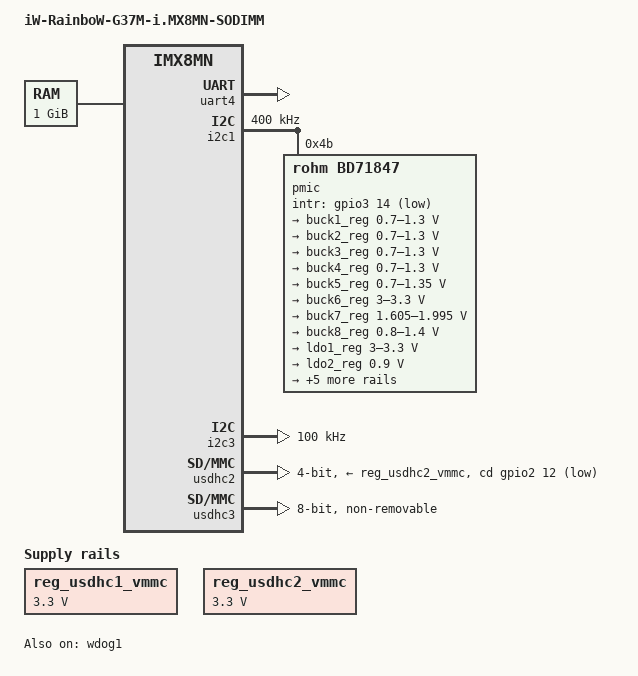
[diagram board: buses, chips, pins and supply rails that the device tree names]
/*
 * Copyright (C) 2020 iWave System Technologies Pvt Ltd.
 *
 * This program is free software; you can redistribute it and/or
 * modify it under the terms of the GNU General Public License
 * as published by the Free Software Foundation; either version 2
 * of the License, or (at your option) any later version.
 *
 * This program is distributed in the hope that it will be useful,
 * but WITHOUT ANY WARRANTY; without even the implied warranty of
 * MERCHANTABILITY or FITNESS FOR A PARTICULAR PURPOSE.  See the
 * GNU General Public License for more details.
 */

/dts-v1/;

#include "fsl-imx8mn.dtsi"

/ {
	model = "iW-RainboW-G37M-i.MX8MN-SODIMM";
	compatible = "fsl,imx8mn-iwg37m", "fsl,imx8mn";

	aliases {
                serial3 = &uart4;
                mmc0 = &usdhc3;
                mmc1 = &usdhc2;
                mmc2 = &usdhc1;
        };

	chosen {
		bootargs = "console=ttymxc3,115200 earlycon=ec_imx6q,0x30a60000,115200";
		stdout-path = &uart4;
	};

	memory@40000000 { /* RAM: 1GB Memory support */
        	device_type = "memory";
        	reg = <0x0 0x40000000 0 0x40000000>;
	};

	reserved-memory { /* RAM: 1GB Memory support */
        	#address-cells = <2>;
        	#size-cells = <2>;
        	ranges;

		/* global autoconfigured region for contiguous allocations */
        	linux,cma {
                	compatible = "shared-dma-pool";
                	reusable;
                	size = <0 0x14000000>;
                	alloc-ranges = <0 0x40000000 0 0x30000000>;
                	linux,cma-default;
        	};
	};

	rpmsg_reserved: rpmsg@0xb8000000 {
		no-map;
		reg = <0 0x78000000 0 0x400000>;
	};

	uart4: serial@30a60000 {
		compatible = "fsl,imx8mm-uart",
			"fsl,imx6q-uart", "fsl,imx21-uart";
		reg = <0x0 0x30a60000 0x0 0x10000>;
		interrupts = <GIC_SPI 29 IRQ_TYPE_LEVEL_HIGH>;
		interrupt-parent = <&gpc>;
		clocks = <&clk IMX8MN_CLK_UART4_ROOT>,
			<&clk IMX8MN_CLK_UART4_ROOT>;
		clock-names = "ipg", "per";
		pinctrl-names = "default";
		pinctrl-0 = <&pinctrl_uart4>;
		status = "okay";
	};

	reg_usdhc1_vmmc: regulator-usdhc1 { /* USDHC1: SOM Micro SD: 3.3V Fixed Regulator */
		compatible = "regulator-fixed";
		regulator-name = "VMMC_SD1_3V3";
		regulator-min-microvolt = <3300000>;
		regulator-max-microvolt = <3300000>;
	};

	reg_usdhc2_vmmc: regulator-usdhc2 { /* USDHC2: Carrier Micro SD: 3.3V Fixed Regulator */
		compatible = "regulator-fixed";
		regulator-name = "VMMC_SD2_3V3";
		regulator-min-microvolt = <3300000>;
		regulator-max-microvolt = <3300000>;
		enable-active-high;
		startup-delay-us = <100>;
		off-on-delay-us = <12000>;
	};
};

&iomuxc {
	pinctrl-names = "default";

	imx8mn-iwg37m {

		pinctrl_flexspi0: flexspi0grp { /* QSPI: IOMUX Pin Configuration */
			fsl,pins = <
				MX8MN_IOMUXC_NAND_ALE__QSPI_A_SCLK 		0x1c4
				MX8MN_IOMUXC_NAND_CE0_B__QSPI_A_SS0_B 		0x84
				MX8MN_IOMUXC_NAND_DQS__QSPI_A_DQS 		0x40000084
				MX8MN_IOMUXC_NAND_DATA00__QSPI_A_DATA0 		0x84
				MX8MN_IOMUXC_NAND_DATA01__QSPI_A_DATA1 		0x84
				MX8MN_IOMUXC_NAND_DATA02__QSPI_A_DATA2 		0x84
				MX8MN_IOMUXC_NAND_DATA03__QSPI_A_DATA3 		0x84
			>;
		};

		pinctrl_i2c1: i2c1grp { /* I2C1: PMIC I2C IOMUX Pin Configuration */
			fsl,pins = <
				MX8MN_IOMUXC_I2C1_SCL__I2C1_SCL			0x400001c3
				MX8MN_IOMUXC_I2C1_SDA__I2C1_SDA			0x400001c3
			>;
		};

		pinctrl_i2c3: i2c3grp { /* I2C3: PMIC I2C IOMUX Pin Configuration */
			fsl,pins = <
				MX8MN_IOMUXC_I2C3_SCL__I2C3_SCL			0x400001c3
				MX8MN_IOMUXC_I2C3_SDA__I2C3_SDA			0x400001c3
			>;
		};

		pinctrl_pmic: pmicirq { /* PMIC: PMIC IOMUX Pin Configuration */
			fsl,pins = <
				MX8MN_IOMUXC_NAND_DQS__GPIO3_IO14		0x41
			>;
		};

		pinctrl_uart4: uart3grp { /* UART4: Debug UART IOMUX Pin Configuration */
			fsl,pins = <
				MX8MN_IOMUXC_UART4_RXD__UART4_DCE_RX    	0x49
				MX8MN_IOMUXC_UART4_TXD__UART4_DCE_TX		0x49
			>;
		};

		pinctrl_usdhc1_gpio: usdhc1grpgpio {
			fsl,pins = <    
				MX8MN_IOMUXC_SD1_STROBE__GPIO2_IO11       	0x41
			>;
		};

		pinctrl_usdhc1: usdhc1grp { /* USDHC1: SOM Micro SD/WiFi: IOMUX Pin Configuration */
			fsl,pins = <
				MX8MN_IOMUXC_SD1_CLK__USDHC1_CLK		0x190
				MX8MN_IOMUXC_SD1_CMD__USDHC1_CMD		0x1d0
				MX8MN_IOMUXC_SD1_DATA0__USDHC1_DATA0    	0x1d0
				MX8MN_IOMUXC_SD1_DATA1__USDHC1_DATA1		0x1d0
				MX8MN_IOMUXC_SD1_DATA2__USDHC1_DATA2    	0x1d0
				MX8MN_IOMUXC_SD1_DATA3__USDHC1_DATA3		0x1d0
				MX8MN_IOMUXC_GPIO1_IO03__GPIO1_IO3		0x16
			>;
		};

		pinctrl_usdhc1_100mhz: usdhc1grp100mhz {
			fsl,pins = <
				MX8MN_IOMUXC_SD1_CLK__USDHC1_CLK        	0x194
				MX8MN_IOMUXC_SD1_CMD__USDHC1_CMD        	0x1d4
				MX8MN_IOMUXC_SD1_DATA0__USDHC1_DATA0    	0x1d4
				MX8MN_IOMUXC_SD1_DATA1__USDHC1_DATA1    	0x1d4
				MX8MN_IOMUXC_SD1_DATA2__USDHC1_DATA2    	0x1d4
				MX8MN_IOMUXC_SD1_DATA3__USDHC1_DATA3    	0x1d4
				MX8MN_IOMUXC_GPIO1_IO03__GPIO1_IO3      	0x16
			>;
		};

		pinctrl_usdhc1_200mhz: usdhc1grp200mhz {
			fsl,pins = <
				MX8MN_IOMUXC_SD1_CLK__USDHC1_CLK        	0x196
				MX8MN_IOMUXC_SD1_CMD__USDHC1_CMD        	0x1d6
				MX8MN_IOMUXC_SD1_DATA0__USDHC1_DATA0    	0x1d6
				MX8MN_IOMUXC_SD1_DATA1__USDHC1_DATA1    	0x1d6
				MX8MN_IOMUXC_SD1_DATA2__USDHC1_DATA2    	0x1d6
				MX8MN_IOMUXC_SD1_DATA3__USDHC1_DATA3    	0x1d6
				MX8MN_IOMUXC_GPIO1_IO03__GPIO1_IO3      	0x16
			>;
		};

		pinctrl_usdhc2_gpio: usdhc2grpgpio {
			fsl,pins = <
				MX8MN_IOMUXC_SD2_CD_B__GPIO2_IO12		0x41
			>;
		};

		pinctrl_usdhc2: usdhc2grp { /* USDHC2: Carrier Micro SD: IOMUX Pin Configuration */
			fsl,pins = <
			MX8MN_IOMUXC_SD2_CLK__USDHC2_CLK			0x190
				MX8MN_IOMUXC_SD2_CMD__USDHC2_CMD		0x1d0
				MX8MN_IOMUXC_SD2_DATA0__USDHC2_DATA0		0x1d0
				MX8MN_IOMUXC_SD2_DATA1__USDHC2_DATA1		0x1d0
				MX8MN_IOMUXC_SD2_DATA2__USDHC2_DATA2		0x1d0
				MX8MN_IOMUXC_SD2_DATA3__USDHC2_DATA3		0x1d0
				MX8MN_IOMUXC_GPIO1_IO04__USDHC2_VSELECT		0x1d0
			>;
		};

		pinctrl_usdhc2_100mhz: usdhc2grp100mhz {
			fsl,pins = <
				MX8MN_IOMUXC_SD2_CLK__USDHC2_CLK		0x194
				MX8MN_IOMUXC_SD2_CMD__USDHC2_CMD		0x1d4
				MX8MN_IOMUXC_SD2_DATA0__USDHC2_DATA0		0x1d4
				MX8MN_IOMUXC_SD2_DATA1__USDHC2_DATA1		0x1d4
				MX8MN_IOMUXC_SD2_DATA2__USDHC2_DATA2		0x1d4
				MX8MN_IOMUXC_SD2_DATA3__USDHC2_DATA3		0x1d4
				MX8MN_IOMUXC_GPIO1_IO04__USDHC2_VSELECT		0x1d0
			>;
		};

		pinctrl_usdhc2_200mhz: usdhc2grp200mhz {
			fsl,pins = <
				MX8MN_IOMUXC_SD2_CLK__USDHC2_CLK		0x196
				MX8MN_IOMUXC_SD2_CMD__USDHC2_CMD		0x1d6
				MX8MN_IOMUXC_SD2_DATA0__USDHC2_DATA0		0x1d6
				MX8MN_IOMUXC_SD2_DATA1__USDHC2_DATA1		0x1d6
				MX8MN_IOMUXC_SD2_DATA2__USDHC2_DATA2		0x1d6
				MX8MN_IOMUXC_SD2_DATA3__USDHC2_DATA3		0x1d6
				MX8MN_IOMUXC_GPIO1_IO04__USDHC2_VSELECT		0x1d0
			>;
		};

		pinctrl_usdhc3: usdhc3grp { /* USDHC3: EMMC: IOMUX Pin Configuration */
			fsl,pins = <
				MX8MN_IOMUXC_NAND_WE_B__USDHC3_CLK		0x40000190
				MX8MN_IOMUXC_NAND_WP_B__USDHC3_CMD		0x1d0
				MX8MN_IOMUXC_NAND_DATA04__USDHC3_DATA0		0x1d0
				MX8MN_IOMUXC_NAND_DATA05__USDHC3_DATA1		0x1d0
				MX8MN_IOMUXC_NAND_DATA06__USDHC3_DATA2		0x1d0
				MX8MN_IOMUXC_NAND_DATA07__USDHC3_DATA3		0x1d0
				MX8MN_IOMUXC_NAND_RE_B__USDHC3_DATA4		0x1d0
				MX8MN_IOMUXC_NAND_CE2_B__USDHC3_DATA5		0x1d0
				MX8MN_IOMUXC_NAND_CE3_B__USDHC3_DATA6		0x1d0
				MX8MN_IOMUXC_NAND_CLE__USDHC3_DATA7		0x1d0
				MX8MN_IOMUXC_NAND_READY_B__USDHC3_RESET_B	0x1d0
				MX8MN_IOMUXC_NAND_CE1_B__USDHC3_STROBE 		0x190
			>;
		};

		pinctrl_usdhc3_100mhz: usdhc3grp100mhz {
			fsl,pins = <
				MX8MN_IOMUXC_NAND_WE_B__USDHC3_CLK		0x40000194
				MX8MN_IOMUXC_NAND_WP_B__USDHC3_CMD		0x1d4
				MX8MN_IOMUXC_NAND_DATA04__USDHC3_DATA0		0x1d4
				MX8MN_IOMUXC_NAND_DATA05__USDHC3_DATA1		0x1d4
				MX8MN_IOMUXC_NAND_DATA06__USDHC3_DATA2		0x1d4
				MX8MN_IOMUXC_NAND_DATA07__USDHC3_DATA3		0x1d4
				MX8MN_IOMUXC_NAND_RE_B__USDHC3_DATA4		0x1d4
				MX8MN_IOMUXC_NAND_CE2_B__USDHC3_DATA5		0x1d4
				MX8MN_IOMUXC_NAND_CE3_B__USDHC3_DATA6		0x1d4
				MX8MN_IOMUXC_NAND_CLE__USDHC3_DATA7		0x1d4
				MX8MN_IOMUXC_NAND_READY_B__USDHC3_RESET_B       0x1d4
				MX8MN_IOMUXC_NAND_CE1_B__USDHC3_STROBE 		0x194
			>;
		};

		pinctrl_usdhc3_200mhz: usdhc3grp200mhz {
			fsl,pins = <
				MX8MN_IOMUXC_NAND_WE_B__USDHC3_CLK		0x40000196
				MX8MN_IOMUXC_NAND_WP_B__USDHC3_CMD		0x1d6
				MX8MN_IOMUXC_NAND_DATA04__USDHC3_DATA0		0x1d6
				MX8MN_IOMUXC_NAND_DATA05__USDHC3_DATA1		0x1d6
				MX8MN_IOMUXC_NAND_DATA06__USDHC3_DATA2		0x1d6
				MX8MN_IOMUXC_NAND_DATA07__USDHC3_DATA3		0x1d6
				MX8MN_IOMUXC_NAND_RE_B__USDHC3_DATA4		0x1d6
				MX8MN_IOMUXC_NAND_CE2_B__USDHC3_DATA5		0x1d6
				MX8MN_IOMUXC_NAND_CE3_B__USDHC3_DATA6		0x1d6
				MX8MN_IOMUXC_NAND_CLE__USDHC3_DATA7		0x1d6
				MX8MN_IOMUXC_NAND_READY_B__USDHC3_RESET_B       0x1d6
				MX8MN_IOMUXC_NAND_CE1_B__USDHC3_STROBE 		0x196
			>;
		};

		pinctrl_wdog: wdoggrp { /* WATCHDOG: Watchdog IOMUX Pin COnfiguration */
			fsl,pins = <
				MX8MN_IOMUXC_GPIO1_IO02__WDOG1_WDOG_B		0xc6
			>;
		};

	};
};

&i2c1 { /* I2C: I2C1 Bus */
	clock-frequency = <400000>;
	pinctrl-names = "default", "gpio";
	pinctrl-0 = <&pinctrl_i2c1>;
	status = "okay";

	pmic: bd71837@4b {
		reg = <0x4b>;
		compatible = "rohm,bd71847";
		pinctrl-0 = <&pinctrl_pmic>;
		gpio_intr = <&gpio3 14 GPIO_ACTIVE_LOW>;

		gpo {
			rohm,drv = <0x0C>;	/* 0b0000_1100 all gpos with cmos output mode */
		};

		regulators {
			#address-cells = <1>;
			#size-cells = <0>;

			bd71837,pmic-buck2-uses-i2c-dvs;
			bd71837,pmic-buck2-dvs-voltage = <1000000>, <900000>, <0>; /* VDD_ARM: Run-Idle */

			buck1_reg: regulator@0 {
				reg = <0>;
				regulator-compatible = "buck1";
				regulator-min-microvolt = <700000>;
				regulator-max-microvolt = <1300000>;
				regulator-boot-on;
				regulator-always-on;
				regulator-ramp-delay = <1250>;
			};

			buck2_reg: regulator@1 {
				reg = <1>;
				regulator-compatible = "buck2";
				regulator-min-microvolt = <700000>;
				regulator-max-microvolt = <1300000>;
				regulator-boot-on;
				regulator-always-on;
				regulator-ramp-delay = <1250>;
			};

			buck3_reg: regulator@2 {
				reg = <2>;
				regulator-compatible = "buck3";
				regulator-min-microvolt = <700000>;
				regulator-max-microvolt = <1300000>;
			};

			buck4_reg: regulator@3 {
				reg = <3>;
				regulator-compatible = "buck4";
				regulator-min-microvolt = <700000>;
				regulator-max-microvolt = <1300000>;
			};

			buck5_reg: regulator@4 {
				reg = <4>;
				regulator-compatible = "buck5";
				regulator-min-microvolt = <700000>;
				regulator-max-microvolt = <1350000>;
			};

			buck6_reg: regulator@5 {
				reg = <5>;
				regulator-compatible = "buck6";
				regulator-min-microvolt = <3000000>;
				regulator-max-microvolt = <3300000>;
				regulator-boot-on;
				regulator-always-on;
			};

			buck7_reg: regulator@6 {
				reg = <6>;
				regulator-compatible = "buck7";
				regulator-min-microvolt = <1605000>;
				regulator-max-microvolt = <1995000>;
				regulator-boot-on;
				regulator-always-on;
			};

			buck8_reg: regulator@7 {
				reg = <7>;
				regulator-compatible = "buck8";
				regulator-min-microvolt = <800000>;
				regulator-max-microvolt = <1400000>;
				regulator-boot-on;
				regulator-always-on;
			};

			ldo1_reg: regulator@8 {
				reg = <8>;
				regulator-compatible = "ldo1";
				regulator-min-microvolt = <3000000>;
				regulator-max-microvolt = <3300000>;
				regulator-boot-on;
				regulator-always-on;
			};

			ldo2_reg: regulator@9 {
				reg = <9>;
				regulator-compatible = "ldo2";
				regulator-min-microvolt = <900000>;
				regulator-max-microvolt = <900000>;
				regulator-boot-on;
				regulator-always-on;
			};

			ldo3_reg: regulator@10 {
				reg = <10>;
				regulator-compatible = "ldo3";
				regulator-min-microvolt = <1800000>;
				regulator-max-microvolt = <3300000>;
				regulator-boot-on;
				regulator-always-on;
			};

			ldo4_reg: regulator@11 {
				reg = <11>;
				regulator-compatible = "ldo4";
				regulator-min-microvolt = <900000>;
				regulator-max-microvolt = <1800000>;
			};

			ldo5_reg: regulator@12 {
				reg = <12>;
				regulator-compatible = "ldo5";
				regulator-min-microvolt = <1800000>;
				regulator-max-microvolt = <3300000>;
			};

			ldo6_reg: regulator@13 {
				reg = <13>;
				regulator-compatible = "ldo6";
				regulator-min-microvolt = <900000>;
				regulator-max-microvolt = <1800000>;
				regulator-boot-on;
				regulator-always-on;
			};

			ldo7_reg: regulator@14 {
				reg = <14>;
				regulator-compatible = "ldo7";
				regulator-min-microvolt = <1800000>;
				regulator-max-microvolt = <3300000>;
			};
		};
	};
};

&i2c3 { /* I2C: I2C3 Bus */
	clock-frequency = <100000>;
	pinctrl-names = "default", "gpio";
	pinctrl-0 = <&pinctrl_i2c3>;
	status = "okay";
};

&flexspi0 { /* QSPI: SPI */
	pinctrl-names = "default";
	pinctrl-0 = <&pinctrl_flexspi0>;
	status = "disabled";

	flash0: n25q256a@0 {
		reg = <0>;
		#address-cells = <1>;
		#size-cells = <1>;
		compatible = "spi-flash";
		spi-max-frequency = <29000000>;
		spi-nor,ddr-quad-read-dummy = <8>;
	};
};

&usdhc1 { /* On SOM MSD (Optional) */
	pinctrl-names = "default", "state_100mhz", "state_200mhz";
	pinctrl-0 = <&pinctrl_usdhc1>;
	pinctrl-1 = <&pinctrl_usdhc1_100mhz>;
	pinctrl-2 = <&pinctrl_usdhc1_200mhz>;
	bus-width = <4>;
	vmmc-supply = <&reg_usdhc1_vmmc>;
	cd-gpios = <&gpio2 11 1>;
	status = "disabled";
};

&usdhc2 { /* Carrier MSD */
	pinctrl-names = "default", "state_100mhz", "state_200mhz";
	pinctrl-0 = <&pinctrl_usdhc2>, <&pinctrl_usdhc2_gpio>;
	pinctrl-1 = <&pinctrl_usdhc2_100mhz>, <&pinctrl_usdhc2_gpio>;
	pinctrl-2 = <&pinctrl_usdhc2_200mhz>, <&pinctrl_usdhc2_gpio>;
	cd-gpios = <&gpio2 12 GPIO_ACTIVE_LOW>;
	bus-width = <4>;
	no-1-8-v;
	vmmc-supply = <&reg_usdhc2_vmmc>;
	status = "okay";
};

&usdhc3 { /* eMMC */
	pinctrl-names = "default", "state_100mhz", "state_200mhz";
	pinctrl-0 = <&pinctrl_usdhc3>;
	pinctrl-1 = <&pinctrl_usdhc3_100mhz>;
	pinctrl-2 = <&pinctrl_usdhc3_200mhz>;
	bus-width = <8>;
	non-removable;
	status = "okay";
};

&wdog1 { /* Watchdog */
	pinctrl-names = "default";
	pinctrl-0 = <&pinctrl_wdog>;
	fsl,ext-reset-output;
	status = "okay";
};

&A53_0 { /* A53 CPU */
	operating-points = <
		/* kHz    uV */
		1500000 1000000
		1400000 950000
		1200000 850000
	>;
	arm-supply = <&buck2_reg>;
};

